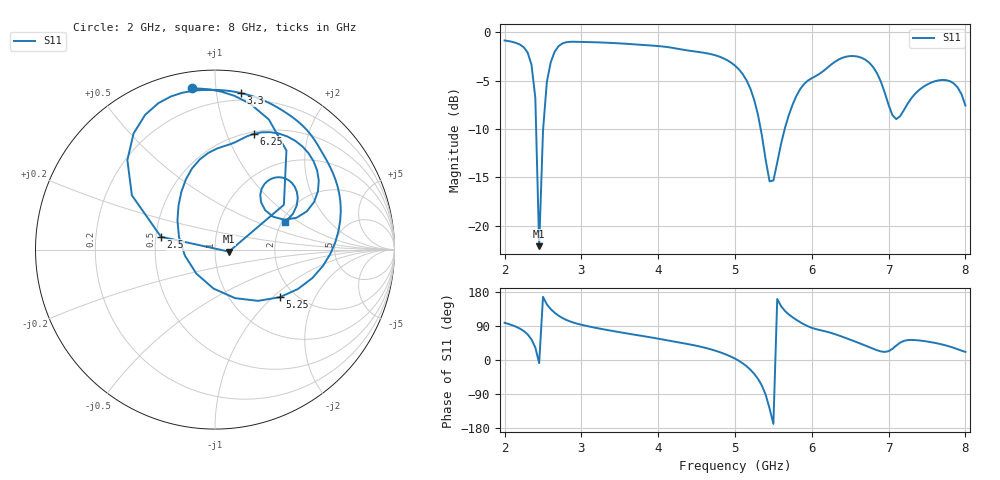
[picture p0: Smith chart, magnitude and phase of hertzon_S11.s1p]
! Generated by Hertzon (EMerge FEM)
# HZ S RI R 50
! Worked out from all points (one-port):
!   121 points, 2 GHz to 8 GHz, reference 50 ohm
!   lowest |S11| = -22.1 dB at 2.45 GHz (marker M1), VSWR 1.17, Z = 58.4 - j1.32 ohm
!   |S11| at or under -10 dB: 2.41 GHz to 2.502 GHz (91.37 MHz wide, 3.72 % of centre); 5.334 GHz to 5.647 GHz (313.3 MHz wide, 5.71 % of centre)
!   S11 on the Smith chart (normalised r, x): 2 GHz: 0.09, +0.86; 2.5 GHz: 0.53, +0.08; 3.3 GHz: 0.15, +1.17; 5.25 GHz: 1.66, -1.11; 6.25 GHz: 0.52, +1.25; 8 GHz: 2.08, +0.77
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2e9  -0.1296 0.8978
2.25e9  0.1963 0.8124
2.35e9  0.398 0.5517
2.4e9  0.3838 0.2496
2.45e9  0.0774 -0.0113
2.5e9  -0.3011 0.0715
2.55e9  -0.4632 0.3027
2.6e9  -0.4882 0.499
2.75e9  -0.3152 0.8162
3.3e9  0.1463 0.8719
3.5e9  0.2516 0.839
4.25e9  0.5606 0.6015
4.65e9  0.6712 0.3896
5e9  0.6708 0.0427
5.25e9  0.3597 -0.2657
5.35e9  0.1122 -0.2705
5.45e9  -0.1038 -0.134
5.55e9  -0.2003 0.0687
5.75e9  -0.163 0.3897
5.9e9  -0.0369 0.539
6.25e9  0.2153 0.6446
6.5e9  0.447 0.6063
6.75e9  0.5781 0.3856
6.95e9  0.4538 0.1771
7.1e9  0.2797 0.2193
7.25e9  0.2604 0.3399
7.65e9  0.4114 0.3858
8e9  0.3891 0.1527
